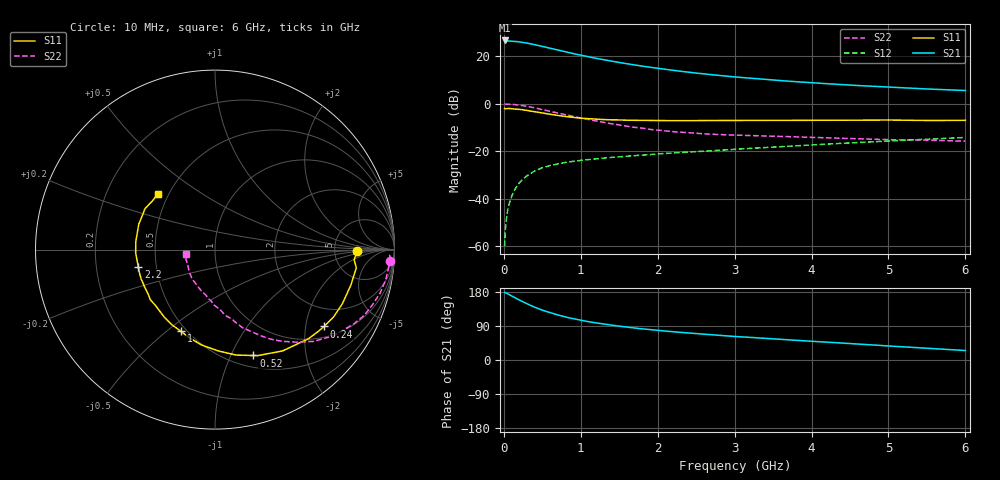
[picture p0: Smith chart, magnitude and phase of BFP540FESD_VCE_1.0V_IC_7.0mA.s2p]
! Infineon Technologies  Discrete & RF Semiconductors
! BFP540FESD
! VCE =  1.0 V,  IC =  7.0 mA
! Common Emitter S-Parameters:  Nov 2015
# GHz  S  MA  R  50
!  f  S11  S21  S12  S22
! GHz  MAG  ANG  MAG  ANG  MAG  ANG  MAG  ANG
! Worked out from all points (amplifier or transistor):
!   210 points, 10 MHz to 6 GHz, reference 50 ohm
!   highest |S21| = 26.6 dB at 10 MHz (marker M1)
!   |S21| within 3 dB of that: start of sweep to 565.8 MHz
!   unconditionally stable (mu >= 1): 2.4 GHz to end of sweep
!   at 185 MHz: K = 0.11, MSG = 30.0 dB, |S12| = -34.0 dB
!   at 1.52 GHz: K = 0.75, MSG = 19.8 dB, |S12| = -22.3 dB
!   at 6 GHz: K = 1.25, MAG = 6.9 dB, |S12| = -14.3 dB
!   S11 on the Smith chart (normalised r, x): 10 MHz: 8.61, -0.45; 240 MHz: 1.33, -2.54; 520 MHz: 0.63, -1.22; 1 GHz: 0.47, -0.56; 2.2 GHz: 0.39, -0.09; 6 GHz: 0.44, +0.34
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0.01  0.7923 -0.7  21.34 178.6  0.001 91.8  0.9789 -3.7
0.02  0.7773 -4.2  20.6 178.0  0.0022 83.2  0.9736 -1.9
0.05  0.794 -7.3  20.84 174.7  0.0057 88.4  0.9746 -4.9
0.15  0.7712 -23.0  20.47 163.8  0.0164 78.1  0.9512 -14.8
0.2  0.76 -29.5  19.91 158.2  0.0214 76.4  0.9288 -19.5
0.24  0.7432 -35.2  19.47 154.3  0.025 73.9  0.911 -23.2
0.3  0.7197 -43.6  18.79 148.3  0.0302 69.4  0.8768 -28.2
0.4  0.6786 -56.3  17.42 139.4  0.0381 64.3  0.8162 -36.1
0.52  0.6274 -70.1  15.76 130.2  0.0458 58.5  0.7368 -44.0
0.6  0.5987 -78.8  14.64 124.7  0.0497 55.3  0.6875 -48.6
0.8  0.5376 -97.7  12.32 113.6  0.0578 50.4  0.5808 -58.8
1  0.493 -112.6  10.45 105.0  0.0641 47.7  0.4964 -66.4
1.02  0.4904 -114.0  10.29 104.3  0.0646 47.4  0.4893 -67.2
1.2  0.4716 -126.4  8.966 97.8  0.0686 45.7  0.4297 -73.5
1.4  0.4548 -137.0  7.836 91.9  0.0737 43.9  0.3764 -80.1
1.7  0.445 -151.2  6.512 84.3  0.0805 42.9  0.316 -89.4
2.02  0.4404 -163.2  5.478 77.7  0.0875 42.3  0.2744 -97.9
2.2  0.4383 -167.4  5.018 74.6  0.0914 42.1  0.2561 -102.0
3.1  0.4428 172.9  3.537 61.0  0.1117 41.0  0.2152 -121.4
4.1  0.4473 160.2  2.684 48.3  0.1381 38.4  0.1927 -136.7
5.1  0.4494 148.3  2.19 35.9  0.167 33.3  0.1729 -152.5
6  0.4445 135.5  1.887 25.0  0.1937 27.6  0.1624 -171.2
